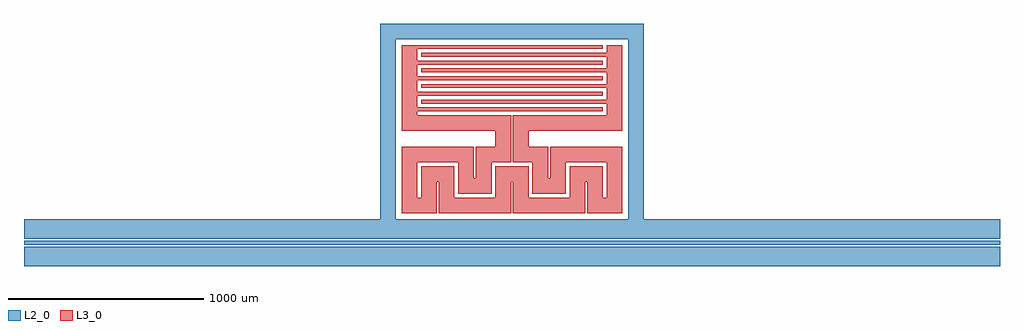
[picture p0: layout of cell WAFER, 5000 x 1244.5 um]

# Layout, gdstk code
import gdstk
lib = gdstk.Library(unit=1e-6, precision=1e-09)
def R(c, l, rs):  # rectangles x0, y0, x1, y1
    for r in rs: c.add(gdstk.rectangle(r[:2], r[2:], *l))
def A(c, l, x, y, w, h, nx, ny, dx, dy):  # array of equal rectangles
    R(c, l, [(x+i*dx, y+j*dy, x+i*dx+w, y+j*dy+h) for i in range(nx) for j in range(ny)])
def P(c, l, *ps):  # polygons
    for p in ps: c.add(gdstk.Polygon(p, *l))
L2_0 = (2, 0)
L3_0 = (3, 0)

kid343_0c = lib.new_cell('KID343.0c')
A(kid343_0c, L3_0, -485, 91.5, 950, 20, 1, 5, 0, 80)
A(kid343_0c, L3_0, -465, 131.5, 950, 20, 1, 4, 0, 80)
P(kid343_0c, L3_0, [(5,-431.5),(5,-268.5),(0,-268.5),(0,-188.5),(85,-188.5),(85,-351.5),(295,-351.5),(295,-188.5),(465,-188.5),(465,-351.5),(485,-351.5),(485,-168.5),(275,-168.5),(275,-331.5),(105,-331.5),(105,-168.5),(5,-168.5),(5,-88.5),(185,-88.5),(185,-251.5),(195,-251.5),(195,-88.5),(565,-88.5),(565,-431.5),(385,-431.5),(385,-268.5),(375,-268.5),(375,-431.5)],
  [(-565,-431.5),(-565,-88.5),(-195,-88.5),(-195,-251.5),(-185,-251.5),(-185,-88.5),(-5,-88.5),(-5,-168.5),(-105,-168.5),(-105,-331.5),(-275,-331.5),(-275,-168.5),(-485,-168.5),(-485,-351.5),(-465,-351.5),(-465,-188.5),(-295,-188.5),(-295,-351.5),(-85,-351.5),(-85,-188.5),(0,-188.5),(0,-268.5),(-5,-268.5),(-5,-431.5),(-375,-431.5),(-375,-268.5),(-385,-268.5),(-385,-431.5)],
  [(-85,-88.5),(-85,-8.5),(-565,-8.5),(-565,431.5),(-485,431.5),(-485,71.5),(-5,71.5),(-5,-88.5)],
  [(5,-88.5),(5,71.5),(485,71.5),(485,431.5),(565,431.5),(565,-8.5),(85,-8.5),(85,-88.5)])

ground_shield_343c = lib.new_cell('GROUND_SHIELD_343c')
P(ground_shield_343c, L2_0, [(-675,-501.5),(-675,501.5),(675,501.5),(675,-501.5),(595,-501.5),(595,421.5),(-595,421.5),(-595,-501.5)])

cpw = lib.new_cell('CPW')
R(cpw, L2_0, [(-2500,-120.75,2500,-20.75), (-2500,-10,2500,10), (-2500,20.75,2500,120.75)])

wafer = lib.new_cell('WAFER')
wafer.add(gdstk.Reference(kid343_0c, (0,0)))
wafer.add(gdstk.Reference(ground_shield_343c, (0,40)))
wafer.add(gdstk.Reference(cpw, (0,-582.25)))

lib.write_gds('WAFER.gds')
